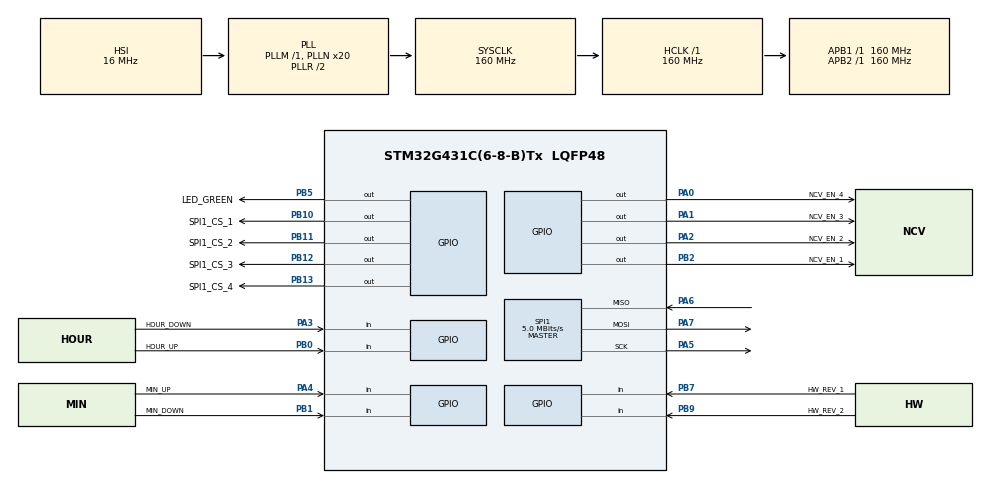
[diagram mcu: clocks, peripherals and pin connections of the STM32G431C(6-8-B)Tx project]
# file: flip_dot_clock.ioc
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Mcu.Family=STM32G4
Mcu.Name=STM32G431C(6-8-B)Tx
Mcu.Package=LQFP48
NVIC.PriorityGroup=NVIC_PRIORITYGROUP_4
NVIC.TIM6_DAC_IRQn=true\:0\:0\:false\:false\:true\:true\:true\:true
PA0.GPIO_Label=NCV_EN_4
PA0.GPIO_Speed=GPIO_SPEED_FREQ_VERY_HIGH
PA0.Signal=GPIO_Output
PA1.GPIO_Label=NCV_EN_3
PA1.GPIO_Speed=GPIO_SPEED_FREQ_VERY_HIGH
PA1.Signal=GPIO_Output
PA10.Signal=USART1_RX
PA13.Mode=JTAG_5_pins
PA13.Signal=SYS_JTMS-SWDIO
PA14.Mode=JTAG_5_pins
PA14.Signal=SYS_JTCK-SWCLK
PA15.Mode=JTAG_5_pins
PA15.Signal=SYS_JTDI
PA2.GPIO_Label=NCV_EN_2
PA2.GPIO_Speed=GPIO_SPEED_FREQ_VERY_HIGH
PA2.Signal=GPIO_Output
PA3.GPIO_Label=HOUR_DOWN
PA3.GPIO_PuPd=GPIO_PULLUP
PA3.Signal=GPIO_Input
PA4.GPIO_Label=MIN_UP
PA4.GPIO_PuPd=GPIO_PULLUP
PA4.Signal=GPIO_Input
PA5.Mode=Full_Duplex_Master
PA5.Signal=SPI1_SCK
PA6.Mode=Full_Duplex_Master
PA6.Signal=SPI1_MISO
PA7.Mode=Full_Duplex_Master
PA7.Signal=SPI1_MOSI
PA9.Signal=USART1_TX
PB0.GPIO_Label=HOUR_UP
PB0.GPIO_PuPd=GPIO_PULLUP
PB0.Signal=GPIO_Input
PB1.GPIO_Label=MIN_DOWN
PB1.GPIO_PuPd=GPIO_PULLUP
PB1.Signal=GPIO_Input
PB10.GPIO_Label=SPI1_CS_1
PB10.GPIO_Speed=GPIO_SPEED_FREQ_VERY_HIGH
PB10.Signal=GPIO_Output
PB11.GPIO_Label=SPI1_CS_2
PB11.GPIO_Speed=GPIO_SPEED_FREQ_VERY_HIGH
PB11.Signal=GPIO_Output
PB12.GPIO_Label=SPI1_CS_3
PB12.GPIO_Speed=GPIO_SPEED_FREQ_VERY_HIGH
PB12.Signal=GPIO_Output
PB13.GPIO_Label=SPI1_CS_4
PB13.GPIO_Speed=GPIO_SPEED_FREQ_VERY_HIGH
PB13.Signal=GPIO_Output
PB2.GPIO_Label=NCV_EN_1
PB2.GPIO_Speed=GPIO_SPEED_FREQ_VERY_HIGH
PB2.Signal=GPIO_Output
PB3.Mode=JTAG_5_pins
PB3.Signal=SYS_JTDO-SWO
PB4.Mode=JTAG_5_pins
PB4.Signal=SYS_JTRST
PB5.GPIO_Label=LED_GREEN
PB5.GPIO_Speed=GPIO_SPEED_FREQ_VERY_HIGH
PB5.Signal=GPIO_Output
PB7.GPIO_Label=HW_REV_1
PB7.GPIO_PuPd=GPIO_PULLDOWN
PB7.Signal=GPIO_Input
PB9.GPIO_Label=HW_REV_2
PB9.GPIO_PuPd=GPIO_PULLDOWN
PB9.Signal=GPIO_Input
PC14-OSC32_IN.Mode=LSE-External-Clock-Source
PC14-OSC32_IN.Signal=RCC_OSC32_IN
ProjectManager.HeapSize=0x200
ProjectManager.StackSize=0x400
ProjectManager.TargetToolchain=Makefile
RCC.ADC12Freq_Value=160000000
RCC.AHBFreq_Value=160000000
RCC.APB1Freq_Value=160000000
RCC.APB1TimFreq_Value=160000000
RCC.APB2Freq_Value=160000000
RCC.APB2TimFreq_Value=160000000
RCC.CortexFreq_Value=160000000
RCC.EXTERNAL_CLOCK_VALUE=12288000
RCC.HCLKFreq_Value=160000000
RCC.HSE_VALUE=8000000
RCC.HSI48_VALUE=48000000
RCC.HSI_VALUE=16000000
RCC.LSE_VALUE=32768
RCC.PLLN=20
RCC.RTCClockSelection=RCC_RTCCLKSOURCE_LSE
RCC.SYSCLKFreq_VALUE=160000000
RCC.SYSCLKSource=RCC_SYSCLKSOURCE_PLLCLK
RCC.USBFreq_Value=160000000
RCC.VCOOutputFreq_Value=320000000
SPI1.BaudRatePrescaler=SPI_BAUDRATEPRESCALER_32
SPI1.CLKPhase=SPI_PHASE_2EDGE
SPI1.CalculateBaudRate=5.0 MBits/s
SPI1.DataSize=SPI_DATASIZE_16BIT
SPI1.Direction=SPI_DIRECTION_2LINES
SPI1.Mode=SPI_MODE_MASTER
SPI1.VirtualType=VM_MASTER
TIM2.Prescaler=159
TIM6.PeriodNoDither=20000-1
TIM6.Prescaler=3
VP_RTC_VS_RTC_Activate.Mode=RTC_Enabled
VP_SYS_VS_DBSignals.Mode=DisableDeadBatterySignals
VP_TIM2_VS_ClockSourceINT.Mode=Internal
VP_TIM6_VS_ClockSourceINT.Mode=Enable_Timer
board=custom

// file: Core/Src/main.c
/* USER CODE BEGIN Header */
/**
  ******************************************************************************
  * @file           : main.c
  * @brief          : Main program body
  ******************************************************************************
  * @attention
  *
  * Copyright (c) 2022 STMicroelectronics.
  * All rights reserved.
  *
  * This software is licensed under terms that can be found in the LICENSE file
  * in the root directory of this software component.
  * If no LICENSE file comes with this software, it is provided AS-IS.
  *
  ******************************************************************************
  */
/* USER CODE END Header */
#include "main.h"
#include "rtc.h"
#include "spi.h"
#include "tim.h"
#include "gpio.h"

/* USER CODE BEGIN Includes */
#include <stdint.h>
/* USER CODE END Includes */

/* USER CODE BEGIN PM */
/// bit 15 - Status Register Reset, 1 = Reset
#define NCV7719_SSR 0x8000
/// bit 14 - Channel Group Select, 1 = HB [8:7] | 0 = HB [6:1]
#define NCV7719_HBSEL 0x4000
/// bit 13 - Underload Shutdown, 1 = Enabled
#define NCV7719_ULDSC 0x2000
/// bit 0 - VSx Overvoltage Lockout, 1 = Enabled, Global Lockout
#define NCV7719_OVLO 0x0001

//   SPI Command Input Definitions, Word 0, Channels 8 – 7 (NCV7719_HBSEL = 1)
/// bit 8 - Enable Half−Bridge 8, 0 = Hi−Z, 1 = Enabled
#define NCV7719_HBEN8 0x0100
/// bit 7 - Enable Half−Bridge 7, 0 = Hi−Z, 1 = Enabled
#define NCV7719_HBEN7 0x0080
/// bit 2 - Configure Half−Bridge 8, 0 = LS On & HS Off, 1 = LS Off & HS On
#define NCV7719_HBCNF8 0x0004
/// bit 1 - Configure Half−Bridge 7, 0 = LS On & HS Off, 1 = LS Off & HS On
#define NCV7719_HBCNF7 0x0002

//   SPI Command Input Definitions, Word 1, Channels 6 – 1 (NCV7719_HBSEL = 0)
/// bit 12 - Enable Half−Bridge 6, 0 = Hi−Z, 1 = Enabled
#define NCV7719_HBEN6 0x1000
/// bit 11 - Enable Half−Bridge 5, 0 = Hi−Z, 1 = Enabled
#define NCV7719_HBEN5 0x0800
/// bit 10 - Enable Half−Bridge 4, 0 = Hi−Z, 1 = Enabled
#define NCV7719_HBEN4 0x0400
/// bit 9 - Enable Half−Bridge 3, 0 = Hi−Z, 1 = Enabled
#define NCV7719_HBEN3 0x0200
/// bit 8 - Enable Half−Bridge 2, 0 = Hi−Z, 1 = Enabled
#define NCV7719_HBEN2 0x0100
/// bit 7 - Enable Half−Bridge 1, 0 = Hi−Z, 1 = Enabled
#define NCV7719_HBEN1 0x0080
/// bit 6 - Configure Half−Bridge 6, 0 = LS On & HS Off, 1 = LS Off & HS On
#define NCV7719_HBCNF6 0x0040
/// bit 5 - Configure Half−Bridge 5, 0 = LS On & HS Off, 1 = LS Off & HS On
#define NCV7719_HBCNF5 0x0020
/// bit 4 - Configure Half−Bridge 4, 0 = LS On & HS Off, 1 = LS Off & HS On
#define NCV7719_HBCNF4 0x0010
/// bit 3 - Configure Half−Bridge 3, 0 = LS On & HS Off, 1 = LS Off & HS On
#define NCV7719_HBCNF3 0x0008
/// bit 2 - Configure Half−Bridge 2, 0 = LS On & HS Off, 1 = LS Off & HS On
#define NCV7719_HBCNF2 0x0004
/// bit 1 - Configure Half−Bridge 1, 0 = LS On & HS Off, 1 = LS Off & HS On
#define NCV7719_HBCNF1 0x0002

#define NUM_DISPLAY 4
#define NUM_BUTTON 4

/// SpiTransmit32() has a special interpretation for the value ENABLE_NCV_DRV,
/// which is to enable an NCV driver chip GPIO.
#define ENABLE_NCV_DRV  0xFFFFFFF
/// SpiTransmit32() has a special interpretation for the value DISABLE_NCV_DRV,
/// which is to disable an NCV driver chip GPIO.
#define DISABLE_NCV_DRV 0x7FFFFFF

#define SET_GPIO(port, pin) port->BSRR = pin;
#define RESET_GPIO(port, pin) port->BRR = pin;
/// Evaluates as true if a GPIO output is set
#define GPIO_IS_SET(port, pin) (port->ODR & pin)
/// Evaluates as true if a GPIO input is set
#define READ_GPIO(port, pin) (port->IDR & pin)
/* USER CODE END PM */

/* USER CODE BEGIN PV */
#define TX_DATA_MAX_LEN 64
uint8_t g_disp_idx[TX_DATA_MAX_LEN],
        g_button_sum[NUM_BUTTON] = {0},
        g_button_scan_start_count[NUM_BUTTON] = {0},
        g_button_scan_repeat_count[NUM_BUTTON] = {0};
uint32_t g_tx_data[TX_DATA_MAX_LEN],
         g_tx_data_write_idx = 0,
         g_tx_data_read_idx = 0,
         g_tx_data_len = 0;
bool g_button_last_state[NUM_BUTTON] = {false},
     g_button_state[NUM_BUTTON] = {false},
     g_button_scan[NUM_BUTTON] = {false};
// g_current_digit is used by SetDigit() to know what segments to turn on/off to
// get to the next digit. On boot we assume that all the segments are not
// showing by setting g_current_digit to have the index value 11 (hide all
// segments). The user needs to call SetDigit(x, 10) for all displays on startup
// to get the displays in a known configuration, where all segments are shown.
uint8_t g_current_digit[NUM_DISPLAY] = {11, 11, 11, 11};
/* USER CODE END PV */

void SystemClock_Config(void);

/* USER CODE BEGIN 0 */
/*
   A
F     B
   G
E     C
   D

NCV7719 SPI Commands
UPPERCASE letter bits are to configure output as high or low
lowercase letter bits are to enable or disable output (Hi-Z)
X and x are for the common H-Bridge

0 - ABCDEF
1 -  BC
2 - AB DE G
3 - ABCD  G
4 -  BC  FG
5 - A CD FG
6 - A CDEFG
7 - ABC
8 - ABCDEFG
9 - ABCD FG

      Channels 8-7     Channels 1-6
             ae    AE     fdgxbcFDGXBC
0 - 0b0000000000000110 0000000001100110
1 - 0b0000000000000000 0000000000000110
2 - 0b0000000000000110 0000000000110100
3 - 0b0000000000000100 0000000000110110
4 - 0b0000000000000000 0000000001010110
5 - 0b0000000000000100 0000000001110010
6 - 0b0000000000000110 0000000001110010
7 - 0b0000000000000100 0000000000000110
8 - 0b0000000000000110 0000000001110110
9 - 0b0000000000000100 0000000001110110

To get the Enable half shift bits, take the bits requiring no change from the
Configure Half-Bridge dataset and bit shift them left by 6. This will give the
correct bits needed to place in Hi-Z or not.

Channel 8 is a common tied to all the RESET pins of the 7-segment display.
+SET and -RESET will cause a segment to show.
-SET and +RESET will cause a segment to be hidden.
*/

uint32_t TxDataLen() {
  return g_tx_data_len;
}

void TxDataPush(const uint32_t data, const uint8_t disp_idx) {
  g_tx_data[g_tx_data_write_idx] = data;
  g_disp_idx[g_tx_data_write_idx] = disp_idx;
  if (++g_tx_data_write_idx >= TX_DATA_MAX_LEN) {
    g_tx_data_write_idx = 0;
  }
  ++g_tx_data_len;  // TODO: can overflow
}

bool TxDataPop(uint32_t * tx_data, uint8_t * disp_idx) {
  if (g_tx_data_len > 0) {
    *tx_data = g_tx_data[g_tx_data_read_idx];
    *disp_idx = g_disp_idx[g_tx_data_read_idx];
    if (++g_tx_data_read_idx >= TX_DATA_MAX_LEN) {
      g_tx_data_read_idx = 0;
    }
    --g_tx_data_len;
    return true;
  }
  return false;
}

bool TxDataNextDispIdx(uint8_t * disp_idx) {
  if (g_tx_data_len > 0) {
    *disp_idx = g_disp_idx[g_tx_data_read_idx];
    return true;
  }
  return false;
}

void SpiTransmit32() {
  uint32_t tx_data;
  uint8_t disp_idx;
  TxDataPop(&tx_data, &disp_idx);
  if (disp_idx >= NUM_DISPLAY) {
    return;
  }
  GPIO_TypeDef * ncv_en_gpio_port[] = {NCV_EN_1_GPIO_Port,
                                       NCV_EN_2_GPIO_Port,
                                       NCV_EN_3_GPIO_Port,
                                       NCV_EN_4_GPIO_Port};
  uint16_t ncv_en_gpio_pin[] = {NCV_EN_1_Pin,
                                NCV_EN_2_Pin,
                                NCV_EN_3_Pin,
                                NCV_EN_4_Pin};
  if (tx_data == ENABLE_NCV_DRV) {
    SET_GPIO(ncv_en_gpio_port[disp_idx], ncv_en_gpio_pin[disp_idx]);
    return;
  } else if (tx_data == DISABLE_NCV_DRV) {
    RESET_GPIO(ncv_en_gpio_port[disp_idx], ncv_en_gpio_pin[disp_idx]);
    return;
  }
  uint16_t tx_data_word[2];
  tx_data_word[0] = (uint16_t)(tx_data & 0xFFFFUL);
  tx_data_word[1] = (uint16_t)((tx_data >> 16) & 0xFFFFUL);
  // Set the NCV7719_HBSEL bit for the second word.
  tx_data_word[1] |= NCV7719_HBSEL;
  GPIO_TypeDef * spi_cs_gpio_port[] = {SPI1_CS_1_GPIO_Port,
                                       SPI1_CS_2_GPIO_Port,
                                       SPI1_CS_3_GPIO_Port,
                                       SPI1_CS_4_GPIO_Port};
  uint16_t spi_cs_gpio_pin[] = {SPI1_CS_1_Pin,
                                SPI1_CS_2_Pin,
                                SPI1_CS_3_Pin,
                                SPI1_CS_4_Pin};
  // Send first word over SPI (bits 0-15 of tx_data; NCV7719_HBSEL = 0)
  RESET_GPIO(spi_cs_gpio_port[disp_idx], spi_cs_gpio_pin[disp_idx])
  LL_SPI_TransmitData16(SPI1, tx_data_word[0]);
  RESET_GPIO(GPIOA, LL_GPIO_PIN_7)  // TODO: Is this necessary?
  // Wait for transmit to complete
  while (SPI1->SR & SPI_SR_BSY);  // See LL_SPI_IsActiveFlag_BSY()
  SET_GPIO(spi_cs_gpio_port[disp_idx], spi_cs_gpio_pin[disp_idx])
  DelayUs(5);  // Need minimum 5 microsecond wait here between CSB toggle.
  // Send second word over SPI (bits 16-31 of tx_data; NCV7719_HBSEL = 1)
  RESET_GPIO(spi_cs_gpio_port[disp_idx], spi_cs_gpio_pin[disp_idx])
  LL_SPI_TransmitData16(SPI1, tx_data_word[1]);
  RESET_GPIO(GPIOA, LL_GPIO_PIN_7)  // TODO: Is this necessary?
  // Wait for SPI transmit to complete
  while (SPI1->SR & SPI_SR_BSY);
  SET_GPIO(spi_cs_gpio_port[disp_idx], spi_cs_gpio_pin[disp_idx])
}

void HideAllSegment(const uint8_t disp_idx) {
  if (disp_idx >= NUM_DISPLAY) {
    return;
  }
  TxDataPush(UINT32_MAX, disp_idx);
  //                  ae    AE0   fdgxbcFDGXBC0
  TxDataPush(0b00000001000001000000001100001000, disp_idx);
  TxDataPush(0b00000000000000000000101010001000, disp_idx);
  TxDataPush(0b00000000100000000001001000001000, disp_idx);
  TxDataPush(0b00000000000000000000011000001000, disp_idx);
  TxDataPush(0, disp_idx);
}

void ShowAllSegment(const uint8_t disp_idx) {
  if (disp_idx >= NUM_DISPLAY) {
    return;
  }
  TxDataPush(UINT32_MAX, disp_idx);
  //                  ae    AE0   fdgxbcFDGXBC0
  TxDataPush(0b00000001000001000000001100000100, disp_idx);
  TxDataPush(0b00000000000000000000101010100010, disp_idx);
  TxDataPush(0b00000000100000100001001001000000, disp_idx);
  TxDataPush(0b00000000000000000000011000010000, disp_idx);
  TxDataPush(0, disp_idx);
}

void SetDigit(const uint8_t disp_idx, uint8_t next_digit) {
  if (disp_idx >= NUM_DISPLAY) {
    return;
  }
  #define DIGIT_CFG_ARRAY_LEN 12
  if (next_digit >= DIGIT_CFG_ARRAY_LEN) {
    return;
  }
  const uint8_t curr_digit = g_current_digit[disp_idx];
  if (next_digit == curr_digit) {
    return;
  } else {
    // We basically assume that the user would not call SetDigit() so fast that
    // the following would not be true.
    g_current_digit[disp_idx] = next_digit;
  }
  #define NUM_SEGMENT 7
  const uint32_t seg_mask[NUM_SEGMENT] =
  //          ae    AE0   fdgxbcFDGXBC0
    {0b00000000000001000000000000000000,  // A
     0b00000000000000000000000000000100,  // B
     0b00000000000000000000000000000010,  // C
     0b00000000000000000000000000100000,  // D
     0b00000000000000100000000000000000,  // E
     0b00000000000000000000000001000000,  // F
     0b00000000000000000000000000010000}; // G
  const uint32_t digit_cfg[DIGIT_CFG_ARRAY_LEN] =
  //          ae    AE0   fdgxbcFDGXBC0
    {0b00000000000001100000000001100110,  // 0
     0b00000000000000000000000000000110,  // 1
     0b00000000000001100000000000110100,  // 2
     0b00000000000001000000000000110110,  // 3
     0b00000000000000000000000001010110,  // 4
     0b00000000000001000000000001110010,  // 5
     0b00000000000001100000000001110010,  // 6
     0b00000000000001000000000000000110,  // 7
     0b00000000000001100000000001110110,  // 8
     0b00000000000001000000000001110110,  // 9
     0b00000000000001100000000001110110,  // all
     0b00000000000000000000000000000000}; // none
                                        //       ae    AE0   fdgxbcFDGXBC0
  const uint32_t reset_pin_bit_cfg_on = 0b00000000000000000000000000001000;  // X
  const uint32_t reset_pin_bit_en =  reset_pin_bit_cfg_on << 6;  // x
  // Also use digit_xor to specify which half-bridges need to be enabled
  const uint32_t digit_xor = digit_cfg[curr_digit] ^ digit_cfg[next_digit];
  const uint32_t all_bits_to_turn_on = digit_cfg[next_digit] & digit_xor,
                 all_bits_to_turn_off = digit_cfg[curr_digit] & digit_xor;
  // We can only turn on or off up to two segments at a time so create
  // incremental masks to go from the previous digit to the next one.
  const uint8_t MAX_SIMULTANEOUS_SEG = 2;
  uint32_t bits_to_turn_on[8] = {0},
           bits_to_turn_off[8] = {0};
  uint8_t bits_to_turn_on_len = 0,
          bits_to_turn_off_len = 0;
  uint8_t i, j, k;
  for (i = 0, j = 0, k = 0; i < NUM_SEGMENT; ++i) {
    if (all_bits_to_turn_on & seg_mask[i]) {
      bits_to_turn_on[bits_to_turn_on_len] |= seg_mask[i];
      ++j;
      if (j == MAX_SIMULTANEOUS_SEG) {
        j = 0;
        ++bits_to_turn_on_len;
      }
    } else if (all_bits_to_turn_off & seg_mask[i]) {
      bits_to_turn_off[bits_to_turn_off_len] |= seg_mask[i];
      ++k;
      if (k == MAX_SIMULTANEOUS_SEG) {
        ++bits_to_turn_off_len;
        k = 0;
      }
    }
  }
  if (j % MAX_SIMULTANEOUS_SEG != 0) {
    ++bits_to_turn_on_len;
  }
  if (k % MAX_SIMULTANEOUS_SEG != 0) {
    ++bits_to_turn_off_len;
  }
  TxDataPush(ENABLE_NCV_DRV, disp_idx);
  for (i = 0; i < bits_to_turn_on_len; ++i) {
    const uint32_t bits_to_turn_on_en = bits_to_turn_on[i] << 6;
    TxDataPush(bits_to_turn_on[i] | bits_to_turn_on_en | reset_pin_bit_en,
               disp_idx);
  }
  for (i = 0; i < bits_to_turn_off_len; ++i) {
    const uint32_t bits_to_turn_off_en = bits_to_turn_off[i] << 6;
    TxDataPush(bits_to_turn_off_en | reset_pin_bit_cfg_on | reset_pin_bit_en,
               disp_idx);
  }
  TxDataPush(0, disp_idx);  // Disable all the outputs
  TxDataPush(DISABLE_NCV_DRV, disp_idx);
}

// Call at 100 Hz
void UpdateButtonState() {
  const uint8_t MAX_SUM = 5,  // 50 milliseconds
                BUTTON_SCAN_START = 50,  // 500 milliseconds
                BUTTON_SCAN_REPEAT = 15;  // 150 milliseconds
  GPIO_TypeDef * button_gpio_port[NUM_BUTTON] = {HOUR_UP_GPIO_Port,
                                                 HOUR_DOWN_GPIO_Port,
                                                 MIN_UP_GPIO_Port,
                                                 MIN_DOWN_GPIO_Port};
  uint16_t button_gpio_pin[NUM_BUTTON] = {HOUR_UP_Pin,
                                          HOUR_DOWN_Pin,
                                          MIN_UP_Pin,
                                          MIN_DOWN_Pin};
  int i = 0;
  for (i = 0; i < NUM_BUTTON; ++i) {
    // High is button released, Low is button pressed.
    if (READ_GPIO(button_gpio_port[i], button_gpio_pin[i])) {
      if (g_button_sum[i] > 0) {
        g_button_sum[i] -= 1;
      }
      if (g_button_sum[i] == 0) {
        g_button_last_state[i] = false;
        g_button_scan[i] = false;
        g_button_scan_start_count[i] = 0;
        g_button_scan_repeat_count[i] = 0;
      }
    } else {
      if (g_button_sum[i] < MAX_SUM) {
        g_button_sum[i] += 1;
      }
      // Besides the first button press, g_button_sum[] must hit zero for the
      // button state to be true again.
      if (g_button_sum[i] == MAX_SUM) {
        if (g_button_scan[i]) {
          g_button_scan_repeat_count[i] += 1;
        }
        if (!g_button_last_state[i] ||
            (g_button_scan[i] &&
             g_button_scan_repeat_count[i] == BUTTON_SCAN_REPEAT)) {
          g_button_scan_repeat_count[i] = 0;
          g_button_last_state[i] = true;
          g_button_state[i] = true;
        }
        if (g_button_scan_start_count[i] < BUTTON_SCAN_START) {
          g_button_scan_start_count[i] += 1;
          if (g_button_scan_start_count[i] == BUTTON_SCAN_START) {
            g_button_scan[i] = true;
            g_button_state[i] = true;
          }
        }
      }
    }
  }
}

bool ButtonState(const uint8_t button_index) {
  if (button_index >= NUM_BUTTON) {
    return false;
  }
  if (g_button_state[button_index]) {
    g_button_state[button_index] = false;
    return true;
  }
  return false;
}

void SetRtcTime(const uint8_t hour,
                const uint8_t minute,
                const uint8_t second) {
  RTC_TimeTypeDef time;
  time.Hours = hour;
  time.Minutes = minute;
  time.Seconds = second;
  time.SubSeconds = 0;
  time.TimeFormat = RTC_HOURFORMAT_24;
  time.DayLightSaving = RTC_DAYLIGHTSAVING_NONE;
  time.StoreOperation = RTC_STOREOPERATION_RESET;
  HAL_RTC_SetTime(&hrtc, &time, FORMAT_BIN);
  RTC_DateTypeDef date;
  date.WeekDay = RTC_WEEKDAY_MONDAY;
  date.Month = RTC_MONTH_JANUARY;
  date.Date = 1;
  date.Year = 1;
  HAL_RTC_SetDate(&hrtc, &date, FORMAT_BCD);

}

/* USER CODE END 0 */

int main(void)
{

  /* MCU Configuration--------------------------------------------------------*/

  /* Reset of all peripherals, Initializes the Flash interface and the Systick. */
  HAL_Init();

  /* Configure the system clock */
  SystemClock_Config();

  /* Initialize all configured peripherals */
  MX_GPIO_Init();
  MX_SPI1_Init();
  MX_RTC_Init();
  MX_TIM6_Init();
  MX_TIM2_Init();
  /* USER CODE BEGIN 2 */
  HAL_TIM_Base_Start_IT(&htim2);  // DelayUs() timer
  HAL_TIM_Base_Start_IT(&htim6);  // 2000 Hz interupt
  if (!LL_SPI_IsEnabled(SPI1)) {
    LL_SPI_Enable(SPI1);
  }
  bool first_tim_call_set_digit = true;
  uint8_t disp_idx = 0,
          next_digit[NUM_DISPLAY] = {0, 0, 0, 0};
  uint32_t hour = 0,
           minute = 0,
           seconds = 0;
  // g_tim_transmit_spi frequency is 2000 Hz
  const uint32_t INIT_PERIOD = 125;  // 0.125 second
  bool is_init = false;
  uint32_t init_step = 0,
           init_period_count = 0,
           update_button_count = 0;
  const uint32_t LED_ON_DURATION = 100;  // 50 ms
  uint32_t led_blink_count = 0;
  /* USER CODE END 2 */

  /* Infinite loop */
  /* USER CODE BEGIN WHILE */
  // Send test SPI message (this also makes the clock default state low, which
  // is good for the doing logic analyzer work).
  LL_SPI_TransmitData16(SPI1, 0xBEEF);
  RESET_GPIO(GPIOA, LL_GPIO_PIN_7)  // TODO: Is this necessary?
  HAL_Delay(10);
  while (1)
  {
    /* USER CODE END WHILE */

    /* USER CODE BEGIN 3 */
    if (g_tim_transmit_spi) {
      g_tim_transmit_spi = false;
      if (first_tim_call_set_digit) {
        first_tim_call_set_digit = false;
      } else {
        SpiTransmit32();
      }
      ++init_period_count;
      ++led_blink_count;
      ++update_button_count;
      if (update_button_count >= 20) {
        update_button_count = 0;
        UpdateButtonState();  // Runs at 100 Hz
      }
    }
    // Run Init Routine
    if (!is_init && init_period_count == INIT_PERIOD) {
      init_period_count = 0;
      int i;
      if (init_step == 0) {
        // Show all segments - Calling SetDigit(x, 10) on boot needs to be done
        // to properly initialize SetDigit() and the displays.
        for (i = 0; i < NUM_DISPLAY; ++i) {
          SetDigit(i, 10);
        }
      } else if (init_step == 16) {
        // Hide all segments
        for (i = 0; i < NUM_DISPLAY; ++i) {
          SetDigit(i, 11);
        }
      } else if (init_step >= 32) {
        // Cycle through all numbers and then stop with all digits on zero
        if (disp_idx == 0 && next_digit[disp_idx] == 10) {
          for (i = 0; i < NUM_DISPLAY; ++i) {
            next_digit[i] = 0;
            SetDigit(i, next_digit[i]);
          }
          is_init = true;
          SetRtcTime(0, 0, 0);
          continue;
        }
        SetDigit(disp_idx, next_digit[disp_idx]);
        next_digit[disp_idx] += 1;
        ++disp_idx;
        if (disp_idx >= NUM_DISPLAY) {
          disp_idx = 0;
        }
      }
      ++init_step;
    } else if (is_init) {
// #define BUTTON_TEST
#ifdef BUTTON_TEST
      int i;
      for (i = 0; i < NUM_DISPLAY; ++i) {
        if (ButtonState(i)) {
          next_digit[i] += 1;
          if (next_digit[i] > 9) {
            next_digit[i] = 0;
          }
          SetDigit(i, next_digit[i]);
        }
      }
#else
      bool update_rtc_time = false;
      if (ButtonState(0)) {
        if (hour >= 23) {
          hour = 0;
        } else {
          ++hour;
        }
        update_rtc_time = true;
      } else if (ButtonState(1)) {
        if (hour == 0) {
          hour = 23;
        } else {
          --hour;
        }
        update_rtc_time = true;
      }
      if (ButtonState(2)) {
        if (minute >= 59) {
          minute = 0;
        } else {
          ++minute;
        }
        update_rtc_time = true;
      } else if (ButtonState(3)) {
        if (minute == 0) {
          minute = 59;
        } else {
          --minute;
        }
        update_rtc_time = true;
      }
      if (update_rtc_time) {
        SetRtcTime(hour, minute, 0);
      }
      RTC_DateTypeDef rtc_date;
      RTC_TimeTypeDef rtc_time;
      HAL_RTC_GetTime(&hrtc, &rtc_time, RTC_FORMAT_BIN);
      HAL_RTC_GetDate(&hrtc, &rtc_date, RTC_FORMAT_BIN);
      hour = rtc_time.Hours;
      minute = rtc_time.Minutes;
      if (seconds != rtc_time.Seconds) {
        seconds = rtc_time.Seconds;
        led_blink_count = 0;
      }
      SetDigit(0, rtc_time.Hours / 10 % 10);
      SetDigit(1, rtc_time.Hours % 10);
      SetDigit(2, rtc_time.Minutes /  10 % 10);
      SetDigit(3, rtc_time.Minutes % 10);
#endif
    }
    // Blink Status LED
    if (led_blink_count == 0) {
      SET_GPIO(LED_GREEN_GPIO_Port, LED_GREEN_Pin)
    } else if (led_blink_count == LED_ON_DURATION) {
      RESET_GPIO(LED_GREEN_GPIO_Port, LED_GREEN_Pin)
    }
  }
  /* USER CODE END 3 */
}

void SystemClock_Config(void)
{
  RCC_OscInitTypeDef RCC_OscInitStruct = {0};
  RCC_ClkInitTypeDef RCC_ClkInitStruct = {0};

  /** Configure the main internal regulator output voltage
  */
  HAL_PWREx_ControlVoltageScaling(PWR_REGULATOR_VOLTAGE_SCALE1_BOOST);

  /** Initializes the RCC Oscillators according to the specified parameters
  * in the RCC_OscInitTypeDef structure.
  */
  RCC_OscInitStruct.OscillatorType = RCC_OSCILLATORTYPE_HSI|RCC_OSCILLATORTYPE_LSE;
  RCC_OscInitStruct.LSEState = RCC_LSE_BYPASS;
  RCC_OscInitStruct.HSIState = RCC_HSI_ON;
  RCC_OscInitStruct.HSICalibrationValue = RCC_HSICALIBRATION_DEFAULT;
  RCC_OscInitStruct.PLL.PLLState = RCC_PLL_ON;
  RCC_OscInitStruct.PLL.PLLSource = RCC_PLLSOURCE_HSI;
  RCC_OscInitStruct.PLL.PLLM = RCC_PLLM_DIV1;
  RCC_OscInitStruct.PLL.PLLN = 20;
  RCC_OscInitStruct.PLL.PLLP = RCC_PLLP_DIV2;
  RCC_OscInitStruct.PLL.PLLQ = RCC_PLLQ_DIV2;
  RCC_OscInitStruct.PLL.PLLR = RCC_PLLR_DIV2;
  if (HAL_RCC_OscConfig(&RCC_OscInitStruct) != HAL_OK)
  {
    Error_Handler();
  }

  /** Initializes the CPU, AHB and APB buses clocks
  */
  RCC_ClkInitStruct.ClockType = RCC_CLOCKTYPE_HCLK|RCC_CLOCKTYPE_SYSCLK
                              |RCC_CLOCKTYPE_PCLK1|RCC_CLOCKTYPE_PCLK2;
  RCC_ClkInitStruct.SYSCLKSource = RCC_SYSCLKSOURCE_PLLCLK;
  RCC_ClkInitStruct.AHBCLKDivider = RCC_SYSCLK_DIV1;
  RCC_ClkInitStruct.APB1CLKDivider = RCC_HCLK_DIV1;
  RCC_ClkInitStruct.APB2CLKDivider = RCC_HCLK_DIV1;

  if (HAL_RCC_ClockConfig(&RCC_ClkInitStruct, FLASH_LATENCY_4) != HAL_OK)
  {
    Error_Handler();
  }
  HAL_RCCEx_EnableLSCO(RCC_LSCOSOURCE_LSE);
}

void Error_Handler(void)
{
  __disable_irq();
  while (1)
  {
  }
}
